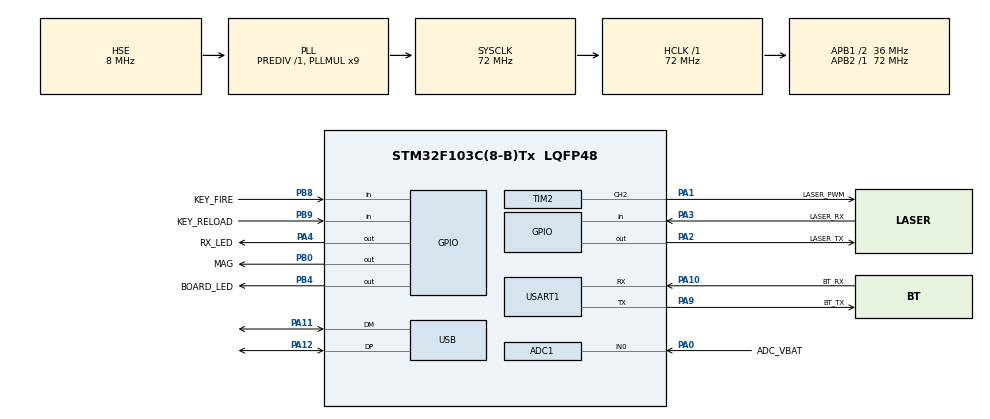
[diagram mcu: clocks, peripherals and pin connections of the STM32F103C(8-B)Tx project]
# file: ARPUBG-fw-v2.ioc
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ADC1.Channel-10\#ChannelRegularConversion=ADC_CHANNEL_0
ADC1.NbrOfConversionFlag=1
ADC1.Rank-10\#ChannelRegularConversion=1
ADC1.SamplingTime-10\#ChannelRegularConversion=ADC_SAMPLETIME_1CYCLE_5
ADC1.master=1
Dma.Request0=USART1_RX
Dma.Request1=USART1_TX
Dma.USART1_RX.0.Direction=DMA_PERIPH_TO_MEMORY
Dma.USART1_RX.0.Instance=DMA1_Channel5
Dma.USART1_RX.0.MemDataAlignment=DMA_MDATAALIGN_BYTE
Dma.USART1_RX.0.MemInc=DMA_MINC_ENABLE
Dma.USART1_RX.0.Mode=DMA_NORMAL
Dma.USART1_RX.0.PeriphDataAlignment=DMA_PDATAALIGN_BYTE
Dma.USART1_RX.0.PeriphInc=DMA_PINC_DISABLE
Dma.USART1_RX.0.Priority=DMA_PRIORITY_LOW
Dma.USART1_TX.1.Direction=DMA_MEMORY_TO_PERIPH
Dma.USART1_TX.1.Instance=DMA1_Channel4
Dma.USART1_TX.1.MemDataAlignment=DMA_MDATAALIGN_BYTE
Dma.USART1_TX.1.MemInc=DMA_MINC_ENABLE
Dma.USART1_TX.1.Mode=DMA_NORMAL
Dma.USART1_TX.1.PeriphDataAlignment=DMA_PDATAALIGN_BYTE
Dma.USART1_TX.1.PeriphInc=DMA_PINC_DISABLE
Dma.USART1_TX.1.Priority=DMA_PRIORITY_LOW
Mcu.Family=STM32F1
Mcu.Name=STM32F103C(8-B)Tx
Mcu.Package=LQFP48
NVIC.DMA1_Channel4_IRQn=true\:0\:0\:false\:false\:true\:false\:true\:true
NVIC.DMA1_Channel5_IRQn=true\:0\:0\:false\:false\:true\:false\:true\:true
NVIC.PriorityGroup=NVIC_PRIORITYGROUP_4
NVIC.TIM2_IRQn=true\:0\:0\:false\:false\:true\:true\:true\:true
NVIC.TIM4_IRQn=true\:0\:0\:false\:false\:true\:true\:true\:true
NVIC.USB_LP_CAN1_RX0_IRQn=true\:0\:0\:false\:false\:true\:false\:true\:true
PA0-WKUP.GPIO_Label=ADC_VBAT
PA0-WKUP.Signal=ADCx_IN0
PA1.GPIO_Label=LASER_PWM
PA1.Signal=S_TIM2_CH2
PA10.GPIO_Label=BT_RX
PA10.Mode=Asynchronous
PA10.Signal=USART1_RX
PA11.Mode=Device
PA11.Signal=USB_DM
PA12.Mode=Device
PA12.Signal=USB_DP
PA13.Mode=Serial_Wire
PA13.Signal=SYS_JTMS-SWDIO
PA14.Mode=Serial_Wire
PA14.Signal=SYS_JTCK-SWCLK
PA2.GPIO_Label=LASER_TX
PA2.Signal=GPIO_Output
PA3.GPIO_Label=LASER_RX
PA3.GPIO_PuPd=GPIO_PULLUP
PA3.Signal=GPIO_Input
PA4.GPIO_Label=RX_LED
PA4.PinState=GPIO_PIN_SET
PA4.Signal=GPIO_Output
PA9.GPIO_Label=BT_TX
PA9.Mode=Asynchronous
PA9.Signal=USART1_TX
PB0.GPIO_Label=MAG
PB0.Signal=GPIO_Output
PB4.GPIO_Label=BOARD_LED
PB4.PinState=GPIO_PIN_SET
PB4.Signal=GPIO_Output
PB8.GPIO_Label=KEY_FIRE
PB8.GPIO_PuPd=GPIO_PULLUP
PB8.Signal=GPIO_Input
PB9.GPIO_Label=KEY_RELOAD
PB9.GPIO_PuPd=GPIO_PULLUP
PB9.Signal=GPIO_Input
PD0-OSC_IN.Mode=HSE-External-Oscillator
PD0-OSC_IN.Signal=RCC_OSC_IN
PD1-OSC_OUT.Mode=HSE-External-Oscillator
PD1-OSC_OUT.Signal=RCC_OSC_OUT
ProjectManager.HeapSize=0x200
ProjectManager.StackSize=0x400
ProjectManager.TargetToolchain=STM32CubeIDE
RCC.ADCPresc=RCC_ADCPCLK2_DIV8
RCC.AHBFreq_Value=72000000
RCC.APB1CLKDivider=RCC_HCLK_DIV2
RCC.APB1Freq_Value=36000000
RCC.APB1TimFreq_Value=72000000
RCC.APB2Freq_Value=72000000
RCC.APB2TimFreq_Value=72000000
RCC.HCLKFreq_Value=72000000
RCC.PLLMUL=RCC_PLL_MUL9
RCC.SYSCLKFreq_VALUE=72000000
RCC.SYSCLKSource=RCC_SYSCLKSOURCE_PLLCLK
RCC.USBFreq_Value=48000000
RCC.USBPrescaler=RCC_USBCLKSOURCE_PLL_DIV1_5
SH.ADCx_IN0.0=ADC1_IN0,IN0
SH.S_TIM2_CH2.0=TIM2_CH2,PWM Generation2 CH2
TIM2.Channel-PWM\ Generation2\ CH2=TIM_CHANNEL_2
TIM2.Period=9
TIM2.Prescaler=35
TIM3.Period=9
TIM3.Prescaler=35
TIM4.Period=5000-1
TIM4.Prescaler=72-1
USART1.VirtualMode=VM_ASYNC
USB_DEVICE.CLASS_NAME_FS=CDC
USB_DEVICE.VirtualMode=Cdc
USB_DEVICE.VirtualModeFS=Cdc_FS
VP_TIM2_VS_ClockSourceINT.Mode=Internal
VP_TIM3_VS_ClockSourceINT.Mode=Internal
VP_TIM4_VS_ClockSourceINT.Mode=Internal
VP_USB_DEVICE_VS_USB_DEVICE_CDC_FS.Mode=CDC_FS
board=custom

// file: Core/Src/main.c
/* USER CODE BEGIN Header */
/**
  ******************************************************************************
  * @file           : main.c
  * @brief          : Main program body
  ******************************************************************************
  * @attention
  *
  * Copyright (c) 2023 STMicroelectronics.
  * All rights reserved.
  *
  * This software is licensed under terms that can be found in the LICENSE file
  * in the root directory of this software component.
  * If no LICENSE file comes with this software, it is provided AS-IS.
  *
  ******************************************************************************
  */
/* USER CODE END Header */
#include "main.h"
#include "adc.h"
#include "dma.h"
#include "tim.h"
#include "usart.h"
#include "usb_device.h"
#include "gpio.h"

/* USER CODE BEGIN Includes */
#include <common_inc.h>
/* USER CODE END Includes */

void SystemClock_Config(void);

/* USER CODE BEGIN 0 */
void USB_GPIO_Reload(void)
{
    GPIO_InitTypeDef GPIO_InitStruct;
    /* GPIO Ports Clock Enable */
    __HAL_RCC_GPIOA_CLK_ENABLE();
    /*Configure GPIO pin Output Level */
    HAL_GPIO_WritePin(GPIOA, GPIO_PIN_12, GPIO_PIN_RESET);
    /*Configure GPIO pin : PA12 */
    GPIO_InitStruct.Pin = GPIO_PIN_12;
    GPIO_InitStruct.Mode = GPIO_MODE_OUTPUT_PP;
    GPIO_InitStruct.Pull = GPIO_PULLDOWN;
    GPIO_InitStruct.Speed = GPIO_SPEED_FREQ_LOW;
    HAL_GPIO_Init(GPIOA, &GPIO_InitStruct);

    HAL_GPIO_WritePin(GPIOA, GPIO_PIN_12,
                      GPIO_PIN_RESET);
    HAL_Delay(65);
    //先把PA12拉低再拉高，利用D+模拟USB的拔插动�????
    HAL_GPIO_WritePin(GPIOA,GPIO_PIN_12,GPIO_PIN_SET);
    HAL_Delay(65);
}
/* USER CODE END 0 */

int main(void)
{

  /* MCU Configuration--------------------------------------------------------*/

  /* Reset of all peripherals, Initializes the Flash interface and the Systick. */
  HAL_Init();

  /* Configure the system clock */
  SystemClock_Config();

  /* USER CODE BEGIN SysInit */
//    USB_GPIO_Reload();
  //再次注意，DMA初始化一定要在用DMA的东西初始化前面
//    MX_DMA_Init();
  /* USER CODE END SysInit */

  /* Initialize all configured peripherals */
  MX_GPIO_Init();
  MX_DMA_Init();
  MX_TIM2_Init();
  MX_TIM3_Init();
  MX_TIM4_Init();
  MX_ADC1_Init();
  MX_USB_DEVICE_Init();
  MX_USART1_UART_Init();
  /* USER CODE BEGIN 2 */
    Main();
  /* USER CODE END 2 */

  /* Infinite loop */
  while (1)
  {

  }
}

void SystemClock_Config(void)
{
  RCC_OscInitTypeDef RCC_OscInitStruct = {0};
  RCC_ClkInitTypeDef RCC_ClkInitStruct = {0};
  RCC_PeriphCLKInitTypeDef PeriphClkInit = {0};

  /** Initializes the RCC Oscillators according to the specified parameters
  * in the RCC_OscInitTypeDef structure.
  */
  RCC_OscInitStruct.OscillatorType = RCC_OSCILLATORTYPE_HSE;
  RCC_OscInitStruct.HSEState = RCC_HSE_ON;
  RCC_OscInitStruct.HSEPredivValue = RCC_HSE_PREDIV_DIV1;
  RCC_OscInitStruct.HSIState = RCC_HSI_ON;
  RCC_OscInitStruct.PLL.PLLState = RCC_PLL_ON;
  RCC_OscInitStruct.PLL.PLLSource = RCC_PLLSOURCE_HSE;
  RCC_OscInitStruct.PLL.PLLMUL = RCC_PLL_MUL9;
  if (HAL_RCC_OscConfig(&RCC_OscInitStruct) != HAL_OK)
  {
    Error_Handler();
  }

  /** Initializes the CPU, AHB and APB buses clocks
  */
  RCC_ClkInitStruct.ClockType = RCC_CLOCKTYPE_HCLK|RCC_CLOCKTYPE_SYSCLK
                              |RCC_CLOCKTYPE_PCLK1|RCC_CLOCKTYPE_PCLK2;
  RCC_ClkInitStruct.SYSCLKSource = RCC_SYSCLKSOURCE_PLLCLK;
  RCC_ClkInitStruct.AHBCLKDivider = RCC_SYSCLK_DIV1;
  RCC_ClkInitStruct.APB1CLKDivider = RCC_HCLK_DIV2;
  RCC_ClkInitStruct.APB2CLKDivider = RCC_HCLK_DIV1;

  if (HAL_RCC_ClockConfig(&RCC_ClkInitStruct, FLASH_LATENCY_2) != HAL_OK)
  {
    Error_Handler();
  }
  PeriphClkInit.PeriphClockSelection = RCC_PERIPHCLK_ADC|RCC_PERIPHCLK_USB;
  PeriphClkInit.AdcClockSelection = RCC_ADCPCLK2_DIV8;
  PeriphClkInit.UsbClockSelection = RCC_USBCLKSOURCE_PLL_DIV1_5;
  if (HAL_RCCEx_PeriphCLKConfig(&PeriphClkInit) != HAL_OK)
  {
    Error_Handler();
  }
}

void Error_Handler(void)
{
  __disable_irq();
  while (1)
  {
  }
}
